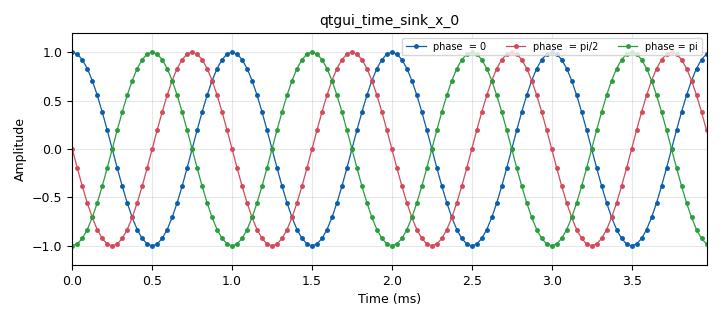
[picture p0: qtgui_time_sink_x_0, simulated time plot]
options:
  parameters:
    author: Dhrubjun
    generate_options: qt_gui
    id: chapter02
    output_language: python
    title: Phase Comparison
  states: {}

blocks:
- name: pi
  id: variable
  parameters:
    value: '3.141592653589793'
  states: {}
- name: samp_rate
  id: variable
  parameters:
    value: '32000'
  states: {}
- name: analog_sig_source_x_0
  id: analog_sig_source_x
  parameters:
    amp: '1'
    freq: '1000'
    offset: '0'
    phase: '0'
    samp_rate: samp_rate
    type: float
    waveform: analog.GR_COS_WAVE
  states: {}
- name: analog_sig_source_x_0_0
  id: analog_sig_source_x
  parameters:
    amp: '1'
    freq: '1000'
    offset: '0'
    phase: pi/2
    samp_rate: samp_rate
    type: float
    waveform: analog.GR_COS_WAVE
  states: {}
- name: analog_sig_source_x_0_1
  id: analog_sig_source_x
  parameters:
    amp: '1'
    freq: '1000'
    offset: '0'
    phase: pi
    samp_rate: samp_rate
    type: float
    waveform: analog.GR_COS_WAVE
  states: {}
- name: blocks_throttle2_0
  id: blocks_throttle2
  parameters:
    samples_per_second: samp_rate
    type: float
  states: {}
- name: blocks_throttle2_0_0
  id: blocks_throttle2
  parameters:
    samples_per_second: samp_rate
    type: float
  states: {}
- name: blocks_throttle2_0_1
  id: blocks_throttle2
  parameters:
    samples_per_second: samp_rate
    type: float
  states: {}
- name: qtgui_time_sink_x_0
  id: qtgui_time_sink_x
  parameters:
    grid: 'True'
    label1: phase  = 0
    label2: phase  = pi/2
    label3: phase = pi
    marker1: '0'
    marker2: '3'
    marker3: '8'
    nconnections: '3'
    size: '128'
    srate: samp_rate
    type: float
    ymax: '1.2'
    ymin: '-1.2'
  states: {}

connections:
- [analog_sig_source_x_0, '0', blocks_throttle2_0_1, '0']
- [analog_sig_source_x_0_0, '0', blocks_throttle2_0, '0']
- [analog_sig_source_x_0_1, '0', blocks_throttle2_0_0, '0']
- [blocks_throttle2_0, '0', qtgui_time_sink_x_0, '1']
- [blocks_throttle2_0_0, '0', qtgui_time_sink_x_0, '2']
- [blocks_throttle2_0_1, '0', qtgui_time_sink_x_0, '0']

metadata:
  file_format: 1
  grc_version: 3.10.12.0
